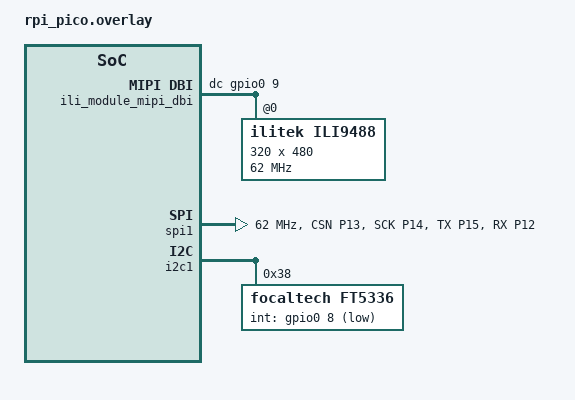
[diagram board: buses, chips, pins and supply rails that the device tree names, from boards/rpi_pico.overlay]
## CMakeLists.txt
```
cmake_minimum_required(VERSION 3.13.1)

find_package(Zephyr REQUIRED HINTS $ENV{ZEPHYR_BASE})
project(zephyr-rp2040 LANGUAGES C)  # set to your own name if desired.

#zephyr_syscall_include_directories(include)
zephyr_include_directories(include)

FILE(GLOB app_src src/*.c)

target_sources(app PRIVATE 
    ${app_src}
)

set(LVGL_DIR ${ZEPHYR_LVGL_MODULE_DIR})
target_include_directories(app PRIVATE
    ${LVGL_DIR}/demos/
)

target_sources_ifdef(CONFIG_LV_USE_DEMO_MUSIC app PRIVATE
    ${LVGL_DIR}/demos/music/lv_demo_music_list.c
    ${LVGL_DIR}/demos/music/lv_demo_music.c
    ${LVGL_DIR}/demos/music/lv_demo_music_main.c
    ${LVGL_DIR}/demos/music/assets/img_lv_demo_music_btn_next.c
    ${LVGL_DIR}/demos/music/assets/img_lv_demo_music_wave_top_large.c
    ${LVGL_DIR}/demos/music/assets/img_lv_demo_music_icon_4_large.c
    ${LVGL_DIR}/demos/music/assets/img_lv_demo_music_icon_4.c
    ${LVGL_DIR}/demos/music/assets/img_lv_demo_music_corner_right.c
    ${LVGL_DIR}/demos/music/assets/img_lv_demo_music_cover_1.c
    ${LVGL_DIR}/demos/music/assets/img_lv_demo_music_slider_knob_large.c
    ${LVGL_DIR}/demos/music/assets/img_lv_demo_music_icon_3.c
    ${LVGL_DIR}/demos/music/assets/img_lv_demo_music_btn_pause.c
    ${LVGL_DIR}/demos/music/assets/img_lv_demo_music_btn_pause_large.c
    ${LVGL_DIR}/demos/music/assets/img_lv_demo_music_wave_bottom_large.c
    ${LVGL_DIR}/demos/music/assets/img_lv_demo_music_icon_2_large.c
    ${LVGL_DIR}/demos/music/assets/img_lv_demo_music_btn_list_play_large.c
    ${LVGL_DIR}/demos/music/assets/img_lv_demo_music_wave_top.c
    ${LVGL_DIR}/demos/music/assets/img_lv_demo_music_btn_play_large.c
    ${LVGL_DIR}/demos/music/assets/img_lv_demo_music_cover_1_large.c
    ${LVGL_DIR}/demos/music/assets/img_lv_demo_music_wave_bottom.c
    ${LVGL_DIR}/demos/music/assets/img_lv_demo_music_corner_left_large.c
    ${LVGL_DIR}/demos/music/assets/img_lv_demo_music_btn_play.c
    ${LVGL_DIR}/demos/music/assets/img_lv_demo_music_list_border.c
    ${LVGL_DIR}/demos/music/assets/img_lv_demo_music_icon_2.c
    ${LVGL_DIR}/demos/music/assets/img_lv_demo_music_btn_next_large.c
    ${LVGL_DIR}/demos/music/assets/img_lv_demo_music_btn_list_play.c
    ${LVGL_DIR}/demos/music/assets/img_lv_demo_music_list_border_large.c
    ${LVGL_DIR}/demos/music/assets/img_lv_demo_music_btn_rnd.c
    ${LVGL_DIR}/demos/music/assets/img_lv_demo_music_cover_3.c
    ${LVGL_DIR}/demos/music/assets/img_lv_demo_music_btn_prev_large.c
    ${LVGL_DIR}/demos/music/assets/img_lv_demo_music_btn_loop.c
    ${LVGL_DIR}/demos/music/assets/img_lv_demo_music_icon_1.c
    ${LVGL_DIR}/demos/music/assets/img_lv_demo_music_slider_knob.c
    ${LVGL_DIR}/demos/music/assets/img_lv_demo_music_corner_right_large.c
    ${LVGL_DIR}/demos/music/assets/img_lv_demo_music_btn_corner_large.c
    ${LVGL_DIR}/demos/music/assets/img_lv_demo_music_corner_left.c
    ${LVGL_DIR}/demos/music/assets/img_lv_demo_music_cover_2_large.c
    ${LVGL_DIR}/demos/music/assets/img_lv_demo_music_icon_3_large.c
    ${LVGL_DIR}/demos/music/assets/img_lv_demo_music_icon_1_large.c
    ${LVGL_DIR}/demos/music/assets/img_lv_demo_music_cover_2.c
    ${LVGL_DIR}/demos/music/assets/img_lv_demo_music_btn_prev.c
    ${LVGL_DIR}/demos/music/assets/img_lv_demo_music_btn_rnd_large.c
    ${LVGL_DIR}/demos/music/assets/img_lv_demo_music_btn_list_pause_large.c
    ${LVGL_DIR}/demos/music/assets/img_lv_demo_music_cover_3_large.c
    ${LVGL_DIR}/demos/music/assets/img_lv_demo_music_btn_list_pause.c
    ${LVGL_DIR}/demos/music/assets/img_lv_demo_music_logo.c
    ${LVGL_DIR}/demos/music/assets/img_lv_demo_music_btn_loop_large.c
)

target_sources_ifdef(CONFIG_LV_USE_DEMO_BENCHMARK app PRIVATE
    ${LVGL_DIR}/demos/benchmark/lv_demo_benchmark.c
    ${LVGL_DIR}/demos/benchmark/assets/img_benchmark_cogwheel_indexed16.c
    ${LVGL_DIR}/demos/benchmark/assets/lv_font_bechmark_montserrat_28_compr_az.c.c
    ${LVGL_DIR}/demos/benchmark/assets/lv_font_bechmark_montserrat_16_compr_az.c.c
    ${LVGL_DIR}/demos/benchmark/assets/img_benchmark_cogwheel_argb.c
    ${LVGL_DIR}/demos/benchmark/assets/img_benchmark_cogwheel_alpha16.c
    ${LVGL_DIR}/demos/benchmark/assets/img_benchmark_cogwheel_rgb.c
    ${LVGL_DIR}/demos/benchmark/assets/lv_font_bechmark_montserrat_12_compr_az.c.c
    ${LVGL_DIR}/demos/benchmark/assets/img_benchmark_cogwheel_chroma_keyed.c
    ${LVGL_DIR}/demos/benchmark/assets/img_benchmark_cogwheel_rgb565a8.c
)

target_sources_ifdef(CONFIG_LV_USE_DEMO_STRESS app PRIVATE
    ${LVGL_DIR}/demos/stress/lv_demo_stress.c
)

target_sources_ifdef(CONFIG_LV_USE_DEMO_WIDGETS app PRIVATE
    ${LVGL_DIR}/demos/widgets/assets/img_clothes.c
    ${LVGL_DIR}/demos/widgets/assets/img_demo_widgets_avatar.c
    ${LVGL_DIR}/demos/widgets/assets/img_lvgl_logo.c
    ${LVGL_DIR}/demos/widgets/lv_demo_widgets.c
)
```

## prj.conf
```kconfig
CONFIG_DISPLAY=y
CONFIG_DISPLAY_LOG_LEVEL_ERR=y

CONFIG_LOG=y
CONFIG_SHELL=y

CONFIG_LVGL=y
CONFIG_LV_MEM_CUSTOM=y
CONFIG_LV_USE_LOG=y
CONFIG_LV_USE_LABEL=y
CONFIG_LV_USE_BTN=y
CONFIG_LV_USE_ARC=y
CONFIG_LV_USE_IMG=y
CONFIG_LV_USE_MONKEY=y

CONFIG_LV_FONT_MONTSERRAT_12=y
CONFIG_LV_FONT_MONTSERRAT_14=y
CONFIG_LV_FONT_MONTSERRAT_16=y

CONFIG_LV_USE_DEMO_MUSIC=y
```

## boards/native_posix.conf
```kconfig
CONFIG_LV_Z_MEM_POOL_SIZE=49152
CONFIG_LV_Z_SHELL=y
CONFIG_MAIN_STACK_SIZE=4096
CONFIG_LV_COLOR_DEPTH_32=y
CONFIG_GPIO=y
CONFIG_INPUT=y
```

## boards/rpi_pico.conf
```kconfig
CONFIG_SERIAL=y
CONFIG_UART_INTERRUPT_DRIVEN=y
CONFIG_SYS_CLOCK_HW_CYCLES_PER_SEC=125000000
CONFIG_USE_DT_CODE_PARTITION=y
CONFIG_GPIO=y
CONFIG_RESET=y
CONFIG_BUILD_OUTPUT_HEX=y
CONFIG_CLOCK_CONTROL=y

CONFIG_BUILD_OUTPUT_UF2=y
CONFIG_LOG_BACKEND_UART=y
CONFIG_INPUT=y
CONFIG_I2C=y

CONFIG_LV_Z_MEM_POOL_SIZE=98304
CONFIG_LV_Z_SHELL=y
CONFIG_MAIN_STACK_SIZE=4096
CONFIG_LV_COLOR_DEPTH_32=y

CONFIG_SPI_ASYNC=y
CONFIG_SPI_PL022_DMA=y
```

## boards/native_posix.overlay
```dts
/*
 * Copyright (c) 2022, Basalte bv
 *
 * SPDX-License-Identifier: Apache-2.0
 */

 #include <zephyr/dt-bindings/input/input-event-codes.h>
 #include <zephyr/dt-bindings/lvgl/lvgl.h>

&sdl_dc {
	height = <480>;
	width = <320>;
};
```

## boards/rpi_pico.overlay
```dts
#include <zephyr/dt-bindings/display/ili9xxx.h>
#include <dt-bindings/pinctrl/rpi-pico-rp2040-pinctrl.h>
#include <zephyr/dt-bindings/lvgl/lvgl.h>
#include <zephyr/dt-bindings/dma/rpi_pico_dma.h>

/ {
    chosen {
        zephyr,display = &ili9488;
    };
    ili_module_mipi_dbi: ili_module_mipi_dbi {
        compatible = "zephyr,mipi-dbi-spi";
        spi-dev = <&spi1>;
        dc-gpios = <&gpio0 9 GPIO_ACTIVE_HIGH>;
        write-only;
        #address-cells = <1>;
        #size-cells = <0>;

		ili9488: ili9488@0 {
			compatible = "ilitek,ili9488";
			mipi-max-frequency = <DT_FREQ_M(62)>;
            mipi-mode = <2>;
            mipi-cpha;
            mipi-cpol;
            mipi-hold-cs;
            pixel-format = <ILI9XXX_PIXEL_FORMAT_RGB888>;
			reg = <0>;
			rotation = <180>;
			width = <320>;
			height = <480>;

		};
    };
    pointer {
        compatible = "zephyr,lvgl-pointer-input";
        input = <&ft5336>;
        swap-xy;
    };

};

&pinctrl {
    spi1_default: spi1_default {
        group1 {
            pinmux = <SPI1_CSN_P13>,<SPI1_SCK_P14>,<SPI1_TX_P15>;
        };
        group2 {
            pinmux = <SPI1_RX_P12>;
            input-enable;
        };
    };
};

&i2c1_default {
    group1 {
        pinmux = <I2C1_SDA_P10>,<I2C1_SCL_P11>;
        input-enable;
        input-schmitt-enable;
    };  
};

&spi1 {
    status = "okay";
    pinctrl-0 = < &spi1_default >;
    pinctrl-names = "default";
    dmas = <&dma 0 RPI_PICO_DMA_SLOT_SPI1_TX 0>, <&dma 1 RPI_PICO_DMA_SLOT_SPI1_RX 0>;
    dma-names = "tx", "rx";
    clock-frequency = <DT_FREQ_M(62)>;
    cs-gpios = <&gpio0 13 GPIO_ACTIVE_LOW>;
};

&i2c1 {
    status = "okay";
    ft5336: ft5336@38 {
        compatible = "focaltech,ft5336";
        reg = <0x38>;
        int-gpios = <&gpio0 8 GPIO_ACTIVE_LOW>;
    };
};
```

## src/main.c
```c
/*
 * Copyright (c) 2018 Jan Van Winkel <jan.van_winkel@dxplore.eu>
 *
 * SPDX-License-Identifier: Apache-2.0
 */

#include <zephyr/device.h>
#include <zephyr/devicetree.h>
#include <zephyr/drivers/display.h>
#include <zephyr/drivers/gpio.h>
#include <lvgl.h>
#include <stdio.h>
#include <string.h>
#include <zephyr/kernel.h>
#include <lvgl_input_device.h>
#include <lv_demos.h>
#include <zephyr/logging/log.h>
LOG_MODULE_REGISTER(app, LOG_LEVEL_DBG);


int main(void)
{
	LOG_DBG("test");
	const struct device *display_dev;
	lv_obj_t *hello_world_label;

	display_dev = DEVICE_DT_GET(DT_CHOSEN(zephyr_display));
	if (!device_is_ready(display_dev)) {
		LOG_ERR("Device not ready, aborting test");
		return 0;
	}
	//	LOG_DBG("test");
	//hello_world_label = lv_label_create(lv_scr_act());
	//lv_label_set_text(hello_world_label, "Hello world!");
	//lv_obj_align(hello_world_label, LV_ALIGN_CENTER, 0, 0);
	lv_demo_music();
	LOG_DBG("test");
	lv_task_handler();
	display_blanking_off(display_dev);
		LOG_DBG("test");

	while (1) {
		k_msleep(lv_task_handler());
	}
}
```
